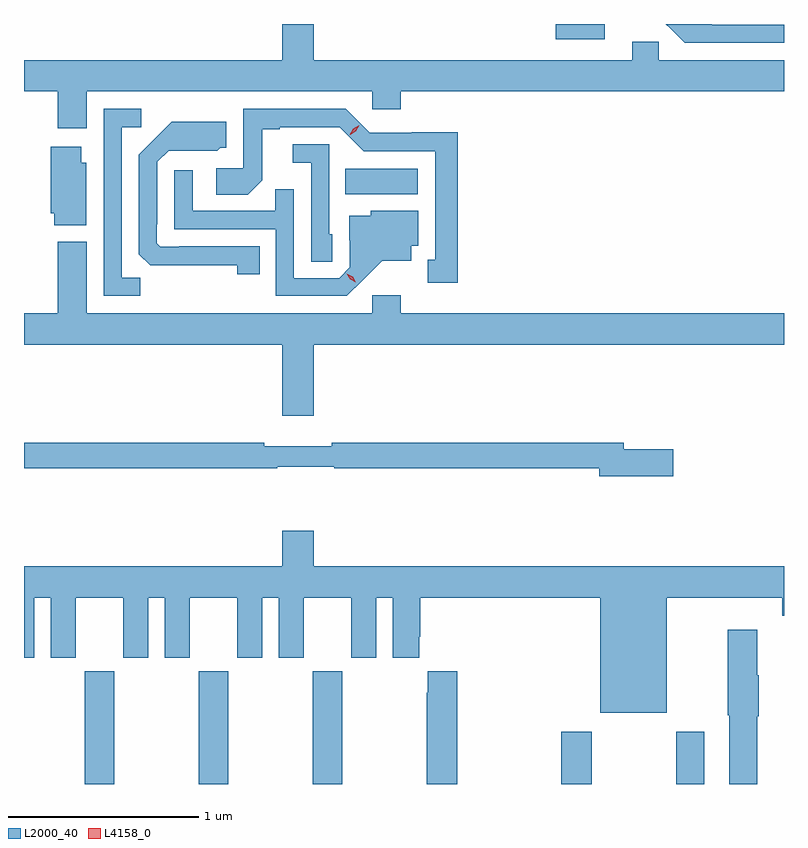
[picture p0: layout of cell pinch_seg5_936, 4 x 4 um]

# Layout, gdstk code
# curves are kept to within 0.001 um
import gdstk
lib = gdstk.Library(unit=1e-6, precision=1e-09)
def R(c, l, rs):  # rectangles x0, y0, x1, y1
    for r in rs: c.add(gdstk.rectangle(r[:2], r[2:], *l))
def A(c, l, x, y, w, h, nx, ny, dx, dy):  # array of equal rectangles
    R(c, l, [(x+i*dx, y+j*dy, x+i*dx+w, y+j*dy+h) for i in range(nx) for j in range(ny)])
def P(c, l, *ps):  # polygons
    for p in ps: c.add(gdstk.Polygon(p, *l))
L2000_40 = (2000, 40)
L4158_0 = (4158, 0)

pinch_seg5_936 = lib.new_cell('pinch_seg5_936')
A(pinch_seg5_936, L2000_40, 703.429, 879.755, 0.155, 0.593, 3, 1, 0.6, 0)
R(pinch_seg5_936, L2000_40, [(705.935,879.755,706.095,880.03), (706.54,879.755,706.687,880.03), (704.8,882.86,705.181,882.994), (705.907,883.674,706.165,883.755)])
P(pinch_seg5_936, L2000_40, [(707.108,883.752),(706.729,883.752),(706.729,883.753),(706.626,883.753),(706.624,883.755),(706.485,883.755),(706.494,883.746),(706.495,883.747),(706.586,883.656),(707.108,883.656)],
  [(703.438,883.4),(704.94,883.4),(704.94,883.307),(705.092,883.307),(705.092,883.4),(707.108,883.4),(707.108,883.564),(706.449,883.564),(706.449,883.662),(706.31,883.662),(706.31,883.564),(704.632,883.564),(704.632,883.753),(704.468,883.753),(704.468,883.564),(703.108,883.564),(703.108,883.4),(703.286,883.4),(703.286,883.206),(703.438,883.206)],
  [(703.719,882.419),(703.623,882.419),(703.623,883.212),(703.726,883.212),(703.726,883.308),(703.527,883.308),(703.527,882.324),(703.719,882.324)],
  [(705.391,883.184),(705.15,883.184),(705.15,883.182),(704.928,883.182),(704.802,883.308),(704.262,883.308),(704.262,882.996),(704.121,882.996),(704.121,882.856),(704.285,882.856),(704.361,882.932),(704.361,883.2),(704.455,883.2),(704.455,883.212),(704.769,883.212),(704.895,883.086),(705.272,883.086),(705.272,882.513),(705.233,882.513),(705.233,882.393),(705.391,882.393)],
  [(704.348,882.585),(703.924,882.585),(703.924,882.582),(703.824,882.582),(703.806,882.6),(703.806,882.7),(703.809,882.7),(703.809,883.029),(703.869,883.089),(704.126,883.088),(704.142,883.104),(704.173,883.104),(704.173,883.24),(703.885,883.24),(703.713,883.066),(703.713,882.544),(703.772,882.485),(704.23,882.484),(704.23,882.438),(704.348,882.438)],
  [(704.73,882.648),(704.715,882.648),(704.715,883.122),(704.523,883.122),(704.523,883.025),(704.619,883.025),(704.619,882.505),(704.73,882.505)],
  [(703.435,883.026),(703.408,883.026),(703.408,883.108),(703.25,883.108),(703.25,882.759),(703.268,882.759),(703.268,882.695),(703.435,882.695)],
  [(704.89,882.407),(704.993,882.509),(705.145,882.509),(705.145,882.588),(705.184,882.588),(705.184,882.772),(704.934,882.772),(704.934,882.745),(704.819,882.745),(704.819,882.616),(704.823,882.616),(704.823,882.474),(704.766,882.417),(704.529,882.417),(704.529,882.884),(704.431,882.884),(704.431,882.771),(703.995,882.771),(703.995,882.985),(703.899,882.985),(703.899,882.675),(704.433,882.675),(704.433,882.324),(704.806,882.324)],
  [(704.632,882.068),(707.108,882.068),(707.108,882.232),(705.092,882.232),(705.092,882.328),(704.94,882.328),(704.94,882.232),(703.438,882.232),(703.438,882.61),(703.286,882.61),(703.286,882.232),(703.108,882.232),(703.108,882.068),(704.468,882.068),(704.468,881.694),(704.632,881.694)],
  [(706.525,881.516),(706.264,881.516),(706.264,881.552),(704.728,881.552),(704.728,881.533),(704.372,881.533),(704.372,881.552),(703.108,881.552),(703.108,881.416),(704.44,881.416),(704.44,881.424),(704.74,881.424),(704.74,881.416),(706.136,881.416),(706.136,881.374),(706.525,881.374)],
  [(706.492,880.736),(707.099,880.736),(707.099,880.64),(707.108,880.64),(707.108,880.9),(704.632,880.9),(704.632,881.089),(704.468,881.089),(704.468,880.9),(703.108,880.9),(703.108,880.419),(703.162,880.419),(703.162,880.736),(703.25,880.736),(703.25,880.419),(703.381,880.419),(703.381,880.736),(703.631,880.736),(703.631,880.419),(703.762,880.419),(703.762,880.736),(703.85,880.736),(703.85,880.419),(703.981,880.419),(703.981,880.736),(704.231,880.736),(704.231,880.419),(704.362,880.419),(704.362,880.736),(704.45,880.736),(704.45,880.419),(704.581,880.419),(704.581,880.736),(704.831,880.736),(704.831,880.419),(704.962,880.419),(704.962,880.736),(705.05,880.736),(705.05,880.419),(705.187,880.419),(705.187,880.531),(705.194,880.531),(705.194,880.736),(706.142,880.736),(706.142,880.13),(706.492,880.13)],
  [(706.966,880.111),(706.974,880.111),(706.974,880.328),(706.966,880.328),(706.966,880.567),(706.813,880.567),(706.813,880.117),(706.82,880.117),(706.82,879.755),(706.966,879.755)],
  [(705.389,880.348),(705.233,880.348),(705.233,880.235),(705.229,880.235),(705.229,879.755),(705.389,879.755)])
P(pinch_seg5_936, L4158_0, [(704.823,883.171),(704.823,883.171),(704.841,883.204),(704.873,883.223),(704.873,883.223),(704.873,883.222),(704.855,883.19),(704.824,883.171)],
  [(704.854,882.396),(704.824,882.411),(704.806,882.441),(704.806,882.441),(704.807,882.441),(704.837,882.426),(704.855,882.396),(704.855,882.396)])

lib.write_gds('pinch_seg5_936.gds')
